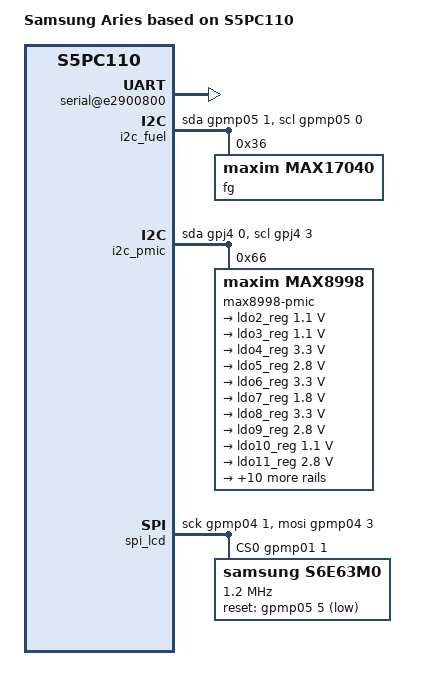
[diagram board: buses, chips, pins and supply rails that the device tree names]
// SPDX-License-Identifier: GPL-2.0+
/*
 * Samsung's S5PC110-based first generation Galaxy S common board device tree source
 *
 * Copyright (c) 2014 Google, Inc
 */

/dts-v1/;

#include <dt-bindings/gpio/gpio.h>
#include "skeleton.dtsi"
#include "s5pc110-pinctrl.dtsi"

/ {
	model = "Samsung Aries based on S5PC110";
	compatible = "samsung,aries", "samsung,s5pc110";

	aliases {
		serial2 = "/serial@e2900800";
		console = "/serial@e2900800";
		pinctrl0 = &pinctrl0;
		i2c3 = &i2c_pmic;
	};

	pinctrl0: pinctrl@e0200000 {
		compatible = "samsung,s5pc110-pinctrl";
		reg = <0xe0200000 0x1000>;
	};

	serial@e2900800 {
		compatible = "samsung,exynos4210-uart";
		reg = <0xe2900800 0x400>;
		id = <2>;
	};

	i2c_fuel: i2c-gpio-1 {
		compatible = "i2c-gpio";
		gpios = <&gpmp05 1 0>, /* sda */
			<&gpmp05 0 0>; /* scl */
		i2c-gpio,delay-us = <2>;
		#address-cells = <1>;
		#size-cells = <0>;

		fg: fuelgauge@36 {
			compatible = "maxim,max17040";
			reg = <0x36>;
			maxim,rcomp-value = <0xB000>;
		};
	};

	i2c_pmic: i2c-pmic {
		compatible = "i2c-gpio";
		gpios = <&gpj4 0 0>, /* sda */
			<&gpj4 3 0>; /* scl */
		i2c-gpio,delay-us = <2>;        /* ~100 kHz */
		#address-cells = <1>;
		#size-cells = <0>;
		status = "okay";

		max8998-pmic@66 {
			compatible = "maxim,max8998";
			reg = <0x66 0 0>;

			voltage-regulators {
				ldo2_reg: LDO2 {
					regulator-compatible = "LDO2";
					regulator-name = "VALIVE_1.1V";
					regulator-min-microvolt = <1100000>;
					regulator-max-microvolt = <1100000>;
					regulator-always-on;
				};

				ldo3_reg: LDO3 {
					regulator-compatible = "LDO3";
					regulator-name = "VUSB+MIPI_1.1V";
					regulator-min-microvolt = <1100000>;
					regulator-max-microvolt = <1100000>;
					regulator-always-on;
				};

				ldo4_reg: LDO4 {
					regulator-compatible = "LDO4";
					regulator-name = "VADC_3.3V";
					regulator-min-microvolt = <3300000>;
					regulator-max-microvolt = <3300000>;
				};

				ldo5_reg: LDO5 {
					regulator-compatible = "LDO5";
					regulator-name = "VTF_2.8V";
					regulator-min-microvolt = <2800000>;
					regulator-max-microvolt = <2800000>;
				};

				ldo6_reg: LDO6 {
					regulator-compatible = "LDO6";
					regulator-name = "VCC_3.3V";
					regulator-min-microvolt = <3300000>;
					regulator-max-microvolt = <3300000>;
				};

				ldo7_reg: LDO7 {
					regulator-compatible = "LDO7";
					regulator-name = "VLCD_1.8V";
					regulator-min-microvolt = <1800000>;
					regulator-max-microvolt = <1800000>;
					regulator-always-on;
				};

				ldo8_reg: LDO8 {
					regulator-compatible = "LDO8";
					regulator-name = "VUSB+VDAC_3.3V";
					regulator-min-microvolt = <3300000>;
					regulator-max-microvolt = <3300000>;
				};

				ldo9_reg: LDO9 {
					regulator-compatible = "LDO9";
					regulator-name = "VCC+VCAM_2.8V";
					regulator-min-microvolt = <2800000>;
					regulator-max-microvolt = <2800000>;
				};

				ldo10_reg: LDO10 {
					regulator-compatible = "LDO10";
					regulator-name = "VPLL_1.1V";
					regulator-min-microvolt = <1100000>;
					regulator-max-microvolt = <1100000>;
					regulator-boot-on;
				};

				ldo11_reg: LDO11 {
					regulator-compatible = "LDO11";
					regulator-name = "CAM_IO_2.8V";
					regulator-min-microvolt = <2800000>;
					regulator-max-microvolt = <2800000>;
				};

				ldo12_reg: LDO12 {
					regulator-compatible = "LDO12";
					regulator-name = "CAM_ISP_1.2V";
					regulator-min-microvolt = <1200000>;
					regulator-max-microvolt = <1200000>;
				};

				ldo13_reg: LDO13 {
					regulator-compatible = "LDO13";
					regulator-name = "CAM_A_2.8V";
					regulator-min-microvolt = <2800000>;
					regulator-max-microvolt = <2800000>;
				};

				ldo14_reg: LDO14 {
					regulator-compatible = "LDO14";
					regulator-name = "CAM_CIF_1.8V";
					regulator-min-microvolt = <1800000>;
					regulator-max-microvolt = <1800000>;
				};

				ldo15_reg: LDO15 {
					regulator-compatible = "LDO15";
					regulator-name = "CAM_AF_3.3V";
					regulator-min-microvolt = <3300000>;
					regulator-max-microvolt = <3300000>;
				};

				ldo16_reg: LDO16 {
					regulator-compatible = "LDO16";
					regulator-name = "VMIPI_1.8V";
					regulator-min-microvolt = <1800000>;
					regulator-max-microvolt = <1800000>;
				};

				ldo17_reg: LDO17 {
					regulator-compatible = "LDO17";
					regulator-name = "CAM_8M_1.8V";
					regulator-min-microvolt = <1800000>;
					regulator-max-microvolt = <1800000>;
					regulator-always-on;
				};

				buck1_reg: BUCK1 {
					regulator-compatible = "BUCK1";
					regulator-name = "VARM_1.2V";
					regulator-min-microvolt = <1200000>;
					regulator-max-microvolt = <1200000>;
				};

				buck2_reg: BUCK2 {
					regulator-compatible = "BUCK2";
					regulator-name = "VINT_1.2V";
					regulator-min-microvolt = <1200000>;
					regulator-max-microvolt = <1200000>;
				};

				buck3_reg: BUCK3 {
					regulator-compatible = "BUCK3";
					regulator-name = "VCC_1.8V";
					regulator-min-microvolt = <1800000>;
					regulator-max-microvolt = <1800000>;
					regulator-always-on;
				};

				buck4_reg: BUCK4 {
					regulator-compatible = "BUCK4";
					regulator-name = "CAM_CORE_1.2V";
					regulator-min-microvolt = <1200000>;
					regulator-max-microvolt = <1200000>;
					regulator-always-on;
				};
			};
		};
	};

	spi_lcd: spi-soft {
		compatible = "spi-gpio";
		cs-gpios = <&gpmp01 1 0>;
		gpio-sck = <&gpmp04 1 0>;
		gpio-mosi = <&gpmp04 3 0>;
		spi-delay-us = <1>; /* 1200000 Hz */
		#address-cells = <1>;
		#size-cells = <0>;

		s6e63m0: display@0 {
			compatible = "samsung,s6e63m0";
			reg = <0>;
			spi-max-frequency = <1200000>;
			reset-gpios = <&gpmp05 5 1>;
		};
	};

	fimd@f8000000 {
		compatible = "samsung,exynos-fimd";
		reg = <0xf8000000 0x20000>;

		samsung,vl-col = <480>;
		samsung,vl-row = <800>;
		samsung,vl-freq = <60>;
		samsung,vl-bpix = <4>;
		samsung,vl-hspw = <2>;
		samsung,vl-hfpd = <16>;
		samsung,vl-hbpd = <16>;
		samsung,vl-vspw = <2>;
		samsung,vl-vfpd = <28>;
		samsung,vl-vbpd = <1>;

		samsung,interface-mode = <1>;
		samsung,winid = <0>;

		u-boot,dm-pre-reloc;
	};
};
